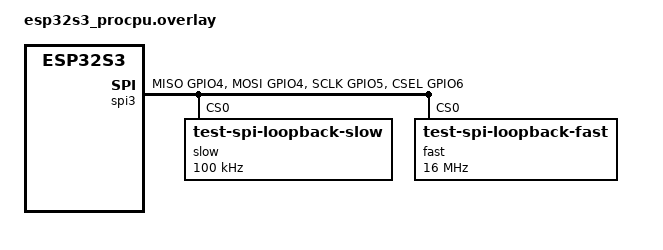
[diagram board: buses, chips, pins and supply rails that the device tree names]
/*
 * Copyright (c) 2022 Kumar Gala <galak@kernel.org>
 *
 * SPDX-License-Identifier: Apache-2.0
 */

&pinctrl {
	spim3_loopback: spim3_loopback {
		group1 {
			pinmux = <SPIM3_MISO_GPIO4>;
			output-enable; /* Enable internal loopback */
		};

		group2 {
			pinmux = <SPIM3_MOSI_GPIO4>;
			input-enable; /* Enable internal loopback */
		};

		group3 {
			pinmux = <SPIM3_SCLK_GPIO5>,
				 <SPIM3_CSEL_GPIO6>;
		};
	};
};

&spi3 {
	slow@0 {
		compatible = "test-spi-loopback-slow";
		reg = <0>;
		spi-max-frequency = <100000>;
	};

	fast@0 {
		compatible = "test-spi-loopback-fast";
		reg = <0>;
		spi-max-frequency = <16000000>;
	};
};

&spi3 {
	#address-cells = <1>;
	#size-cells = <0>;
	dma-enabled;
	pinctrl-0 = <&spim3_loopback>;
	pinctrl-names = "default";
	status = "okay";

	dmas = <&dma 0>, <&dma 1>;
	dma-names = "rx", "tx";
};

&dma {
	status = "okay";
};
